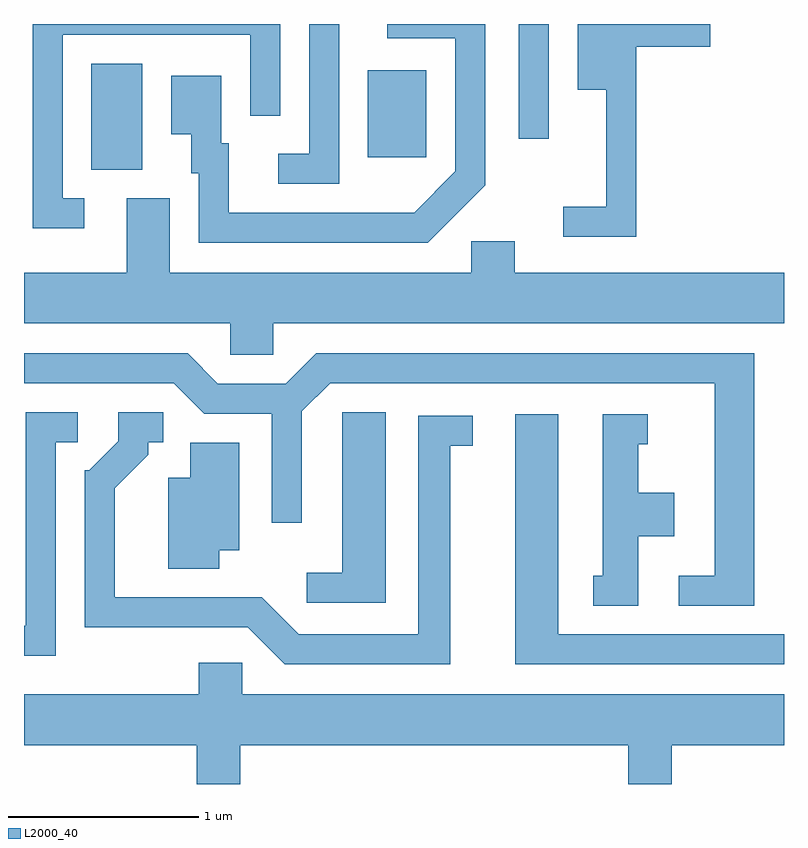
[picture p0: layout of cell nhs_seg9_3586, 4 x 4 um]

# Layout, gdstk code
import gdstk
lib = gdstk.Library(unit=1e-6, precision=1e-09)
def R(c, l, rs):  # rectangles x0, y0, x1, y1
    for r in rs: c.add(gdstk.rectangle(r[:2], r[2:], *l))
def P(c, l, *ps):  # polygons
    for p in ps: c.add(gdstk.Polygon(p, *l))
L2000_40 = (2000, 40)

nhs_seg9_3586 = lib.new_cell('nhs_seg9_3586')
R(nhs_seg9_3586, L2000_40, [(289.966,2063.666,290.234,2064.224), (291.421,2063.731,291.729,2064.189), (292.216,2063.827,292.374,2064.432)])
P(nhs_seg9_3586, L2000_40, [(292.834,2064.311),(293.224,2064.311),(293.224,2064.432),(292.526,2064.432),(292.526,2064.086),(292.676,2064.086),(292.676,2063.469),(292.448,2063.469),(292.448,2063.311),(292.834,2063.311)],
  [(291.269,2064.432),(291.111,2064.432),(291.111,2063.749),(290.948,2063.749),(290.948,2063.591),(291.269,2063.591)],
  [(289.928,2063.514),(289.814,2063.514),(289.814,2064.376),(290.801,2064.376),(290.801,2063.948),(290.959,2063.948),(290.959,2064.432),(289.656,2064.432),(289.656,2063.356),(289.928,2063.356)],
  [(292.039,2063.584),(292.039,2064.432),(291.523,2064.432),(291.523,2064.356),(291.881,2064.356),(291.881,2063.657),(291.664,2063.439),(290.689,2063.439),(290.689,2063.804),(290.649,2063.804),(290.649,2064.159),(290.386,2064.159),(290.386,2063.851),(290.491,2063.851),(290.491,2063.646),(290.531,2063.646),(290.531,2063.281),(291.737,2063.281)],
  [(290.924,2062.856),(293.611,2062.856),(293.611,2063.124),(292.194,2063.124),(292.194,2063.289),(291.966,2063.289),(291.966,2063.124),(290.379,2063.124),(290.379,2063.514),(290.151,2063.514),(290.151,2063.124),(289.611,2063.124),(289.611,2062.856),(290.696,2062.856),(290.696,2062.691),(290.924,2062.691)],
  [(293.454,2062.699),(291.149,2062.699),(290.989,2062.539),(290.632,2062.539),(290.472,2062.699),(289.611,2062.699),(289.611,2062.541),(290.399,2062.541),(290.559,2062.381),(290.916,2062.381),(290.916,2061.808),(291.074,2061.808),(291.074,2062.394),(291.222,2062.541),(293.246,2062.541),(293.246,2061.529),(293.058,2061.529),(293.058,2061.371),(293.454,2061.371)],
  [(289.779,2062.231),(289.893,2062.231),(289.893,2062.389),(289.621,2062.389),(289.621,2061.264),(289.611,2061.264),(289.611,2061.106),(289.779,2061.106)],
  [(291.514,2062.389),(291.286,2062.389),(291.286,2061.544),(291.098,2061.544),(291.098,2061.386),(291.514,2061.386)],
  [(291.854,2062.211),(291.973,2062.211),(291.973,2062.369),(291.686,2062.369),(291.686,2061.219),(291.057,2061.219),(290.862,2061.414),(290.089,2061.414),(290.089,2061.989),(290.264,2062.164),(290.264,2062.231),(290.343,2062.231),(290.343,2062.389),(290.106,2062.389),(290.106,2062.237),(289.954,2062.084),(289.931,2062.084),(289.931,2061.256),(290.789,2061.256),(290.984,2061.061),(291.854,2061.061)],
  [(292.844,2061.736),(293.034,2061.736),(293.034,2061.964),(292.844,2061.964),(292.844,2062.221),(292.893,2062.221),(292.893,2062.379),(292.656,2062.379),(292.656,2061.529),(292.608,2061.529),(292.608,2061.371),(292.844,2061.371)],
  [(293.611,2061.219),(292.424,2061.219),(292.424,2062.379),(292.196,2062.379),(292.196,2061.061),(293.611,2061.061)],
  [(290.639,2061.661),(290.744,2061.661),(290.744,2062.229),(290.486,2062.229),(290.486,2062.044),(290.371,2062.044),(290.371,2061.566),(290.639,2061.566)],
  [(290.749,2060.636),(292.791,2060.636),(292.791,2060.432),(293.019,2060.432),(293.019,2060.636),(293.611,2060.636),(293.611,2060.904),(290.759,2060.904),(290.759,2061.069),(290.531,2061.069),(290.531,2060.904),(289.611,2060.904),(289.611,2060.636),(290.521,2060.636),(290.521,2060.432),(290.749,2060.432)])

lib.write_gds('nhs_seg9_3586.gds')
